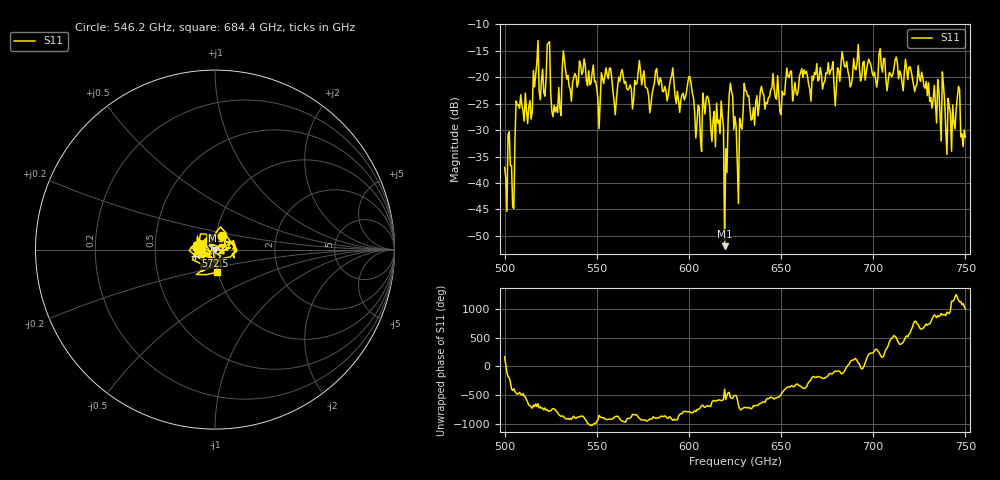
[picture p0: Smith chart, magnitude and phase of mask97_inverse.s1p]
!Created with skrf (http://scikit-rf.org).
# GHz S MA R 50.0
!freq magS11 angS11
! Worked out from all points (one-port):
!   401 points, 500 GHz to 750 GHz, reference 50 ohm
!   lowest |S11| = -51.9 dB at 619.4 GHz (marker M1), VSWR 1.01, Z = 50.2 - j0.15 ohm
!   |S11| at or under -10 dB: start of sweep to end of sweep
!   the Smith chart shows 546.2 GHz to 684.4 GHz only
!   S11 on the Smith chart (normalised r, x): 546.2 GHz: 1.06, +0.16; 572.5 GHz: 0.80, -0.06; 684.4 GHz: 0.99, -0.25
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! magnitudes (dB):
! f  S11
! 500 GHz  -37.0
! 504.4 GHz  -44.5
! 507.5 GHz  -25.2
! 513.8 GHz  -24.4
! 516.9 GHz  -19.4
! 520.6 GHz  -18.5
! 523.8 GHz  -13.5
! 526.9 GHz  -25.3
! 531.2 GHz  -18.3
! 546.2 GHz  -21.4
! 562.5 GHz  -20.8
! 572.5 GHz  -18.9
! 593.8 GHz  -22.6
! 600 GHz  -19.8
! 616.2 GHz  -28.1
! 619.4 GHz  -51.9
! 622.5 GHz  -21.1
! 625 GHz  -27.4
! 627.5 GHz  -27.7
! 631.2 GHz  -22.7
! 634.4 GHz  -27.9
! 656.2 GHz  -24.5
! 684.4 GHz  -18.0
! 687.5 GHz  -21.8
! 718.8 GHz  -20.4
! 741.2 GHz  -25.6
! 745.6 GHz  -23.8
! 750 GHz  -31.3
